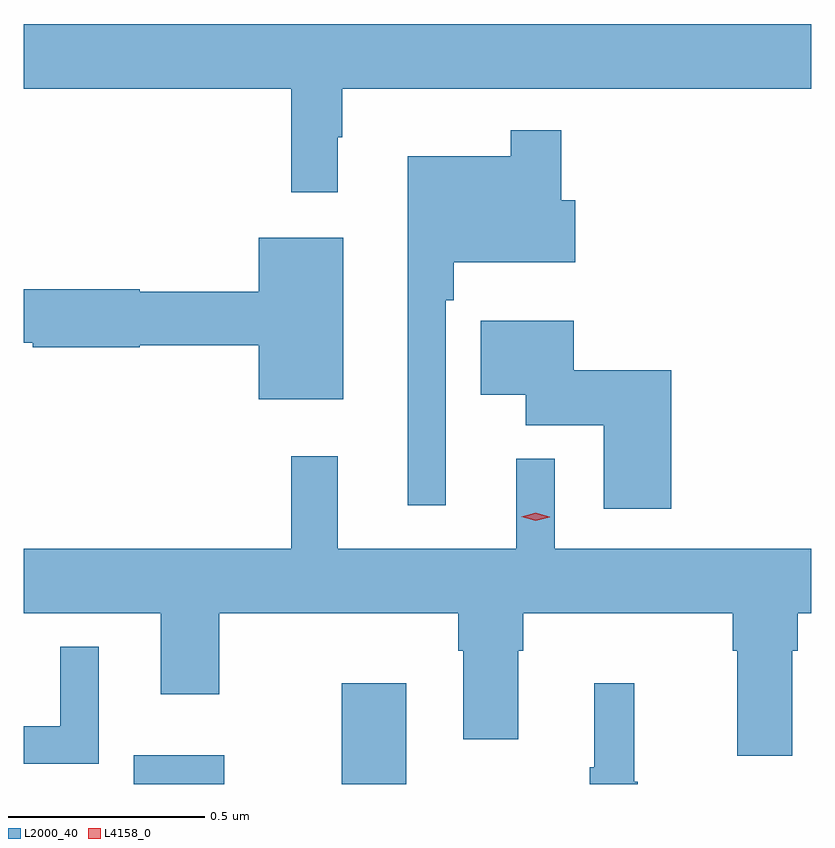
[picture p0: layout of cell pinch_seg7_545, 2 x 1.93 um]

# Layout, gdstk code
import gdstk
lib = gdstk.Library(unit=1e-6, precision=1e-09)
def R(c, l, rs):  # rectangles x0, y0, x1, y1
    for r in rs: c.add(gdstk.rectangle(r[:2], r[2:], *l))
def P(c, l, *ps):  # polygons
    for p in ps: c.add(gdstk.Polygon(p, *l))
L2000_40 = (2000, 40)
L4158_0 = (4158, 0)

pinch_seg7_545 = lib.new_cell('pinch_seg7_545')
R(pinch_seg7_545, L2000_40, [(121.97,1061.454,122.2,1061.527), (122.498,1061.454,122.662,1061.71)])
P(pinch_seg7_545, L2000_40, [(122.488,1063.097),(122.5,1063.097),(122.5,1063.22),(123.691,1063.22),(123.691,1063.384),(121.691,1063.384),(121.691,1063.22),(122.371,1063.22),(122.371,1062.957),(122.488,1062.957)],
  [(122.763,1062.683),(122.783,1062.683),(122.783,1062.779),(123.091,1062.779),(123.091,1062.937),(123.056,1062.937),(123.056,1063.114),(122.928,1063.114),(122.928,1063.048),(122.666,1063.048),(122.666,1062.162),(122.763,1062.162)],
  [(122.503,1062.841),(122.288,1062.841),(122.288,1062.704),(121.986,1062.704),(121.986,1062.71),(121.691,1062.71),(121.691,1062.575),(121.714,1062.575),(121.714,1062.563),(121.986,1062.563),(121.986,1062.568),(122.288,1062.568),(122.288,1062.431),(122.503,1062.431)],
  [(123.335,1062.505),(123.088,1062.505),(123.088,1062.631),(122.852,1062.631),(122.852,1062.443),(122.966,1062.443),(122.966,1062.365),(123.164,1062.365),(123.164,1062.153),(123.335,1062.153)],
  [(123.643,1061.792),(123.656,1061.792),(123.656,1061.888),(123.691,1061.888),(123.691,1062.052),(123.039,1062.052),(123.039,1062.28),(122.942,1062.28),(122.942,1062.052),(122.489,1062.052),(122.489,1062.286),(122.371,1062.286),(122.371,1062.052),(121.691,1062.052),(121.691,1061.888),(122.039,1061.888),(122.039,1061.682),(122.187,1061.682),(122.187,1061.888),(122.795,1061.888),(122.795,1061.792),(122.807,1061.792),(122.807,1061.568),(122.947,1061.568),(122.947,1061.792),(122.96,1061.792),(122.96,1061.888),(123.491,1061.888),(123.491,1061.792),(123.503,1061.792),(123.503,1061.526),(123.643,1061.526)],
  [(121.882,1061.803),(121.784,1061.803),(121.784,1061.601),(121.691,1061.601),(121.691,1061.505),(121.882,1061.505)],
  [(123.25,1061.46),(123.242,1061.46),(123.242,1061.71),(123.14,1061.71),(123.14,1061.497),(123.129,1061.497),(123.129,1061.454),(123.25,1061.454)])
P(pinch_seg7_545, L4158_0, [(122.991,1062.123),(122.955,1062.133),(122.955,1062.133),(122.955,1062.133),(122.991,1062.143),(123.027,1062.133),(123.027,1062.132),(123.027,1062.132)])

lib.write_gds('pinch_seg7_545.gds')
